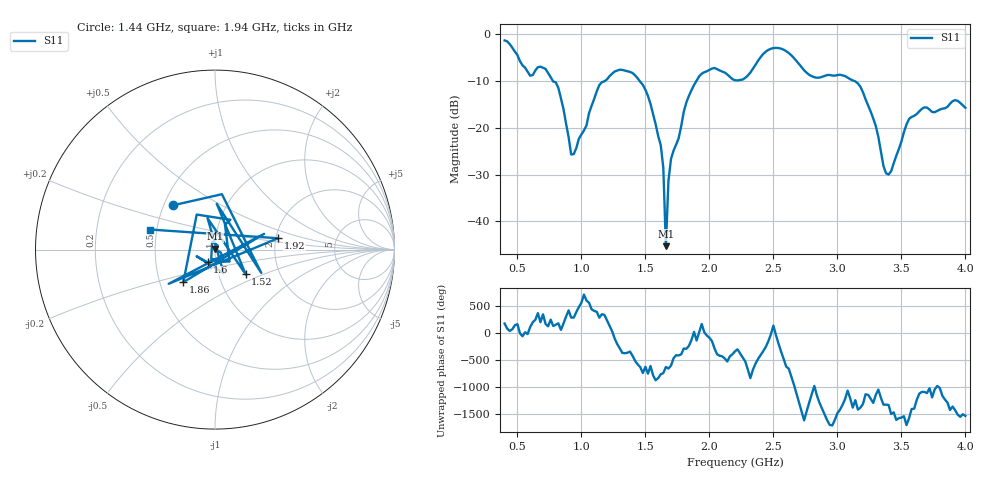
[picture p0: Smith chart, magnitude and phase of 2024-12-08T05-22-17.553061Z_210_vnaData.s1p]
!Created with skrf (http://scikit-rf.org).
# Hz S RI R 50.0
!freq ReS11 ImS11
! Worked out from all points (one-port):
!   181 points, 400 MHz to 4 GHz, reference 50 ohm
!   lowest |S11| = -45.3 dB at 1.66 GHz (marker M1), VSWR 1.01, Z = 50 + j0.542 ohm
!   |S11| at or under -10 dB: 778.4 MHz to 1.182 GHz (403.5 MHz wide, 41.2 % of centre); 1.456 GHz to 1.897 GHz (441.2 MHz wide, 26.3 % of centre); 3.135 GHz to end of sweep
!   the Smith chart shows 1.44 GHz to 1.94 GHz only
!   S11 on the Smith chart (normalised r, x): 1.44 GHz: 0.56, +0.31; 1.52 GHz: 1.35, -0.39; 1.6 GHz: 0.91, -0.13; 1.86 GHz: 0.66, -0.26; 1.92 GHz: 2.05, +0.30; 1.94 GHz: 0.46, +0.12
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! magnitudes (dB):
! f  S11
! 400 MHz  -1.3
! 600 MHz  -8.8
! 720 MHz  -7.4
! 860 MHz  -16.0
! 920 MHz  -25.7
! 940 MHz  -25.6
! 1.14 GHz  -10.8
! 1.3 GHz  -7.5
! 1.44 GHz  -9.4
! 1.52 GHz  -13.2
! 1.6 GHz  -21.8
! 1.64 GHz  -28.6
! 1.66 GHz  -45.3
! 1.68 GHz  -31.4
! 1.7 GHz  -26.7
! 1.76 GHz  -22.2
! 1.86 GHz  -11.9
! 1.92 GHz  -9.0
! 1.94 GHz  -8.4
! 2.2 GHz  -9.8
! 2.48 GHz  -3.1
! 2.66 GHz  -5.0
! 2.82 GHz  -9.2
! 3.1 GHz  -9.6
! 3.26 GHz  -16.5
! 3.38 GHz  -29.7
! 3.56 GHz  -18.1
! 4 GHz  -15.7
